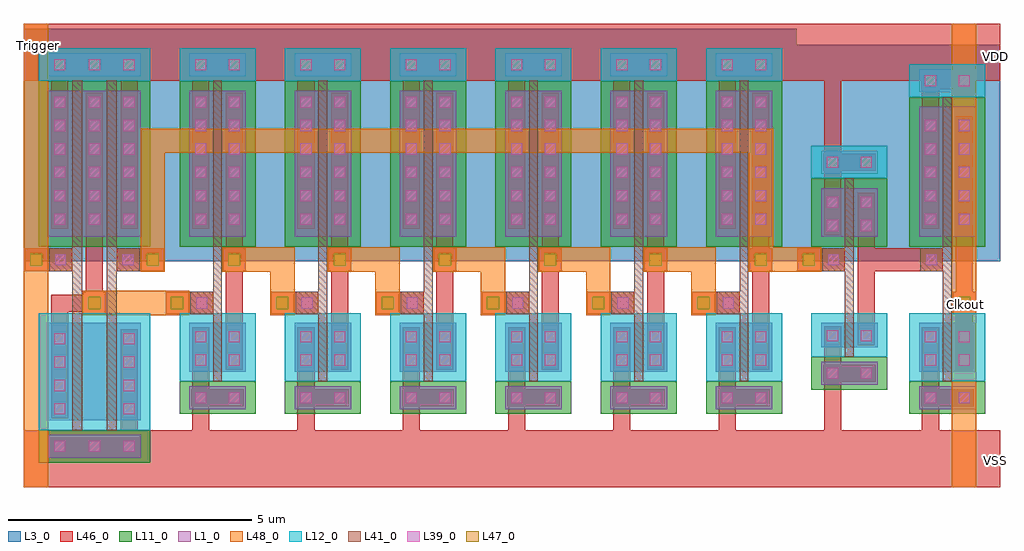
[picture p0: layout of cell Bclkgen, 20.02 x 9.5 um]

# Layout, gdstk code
import gdstk
lib = gdstk.Library(unit=1e-6, precision=1e-09)
def R(c, l, rs):  # rectangles x0, y0, x1, y1
    for r in rs: c.add(gdstk.rectangle(r[:2], r[2:], *l))
def A(c, l, x, y, w, h, nx, ny, dx, dy):  # array of equal rectangles
    R(c, l, [(x+i*dx, y+j*dy, x+i*dx+w, y+j*dy+h) for i in range(nx) for j in range(ny)])
L1_0 = (1, 0)
L3_0 = (3, 0)
L11_0 = (11, 0)
L12_0 = (12, 0)
L39_0 = (39, 0)
L41_0 = (41, 0)
L46_0 = (46, 0)
L47_0 = (47, 0)
L48_0 = (48, 0)

buf = lib.new_cell('buf')
R(buf, L1_0, [(-5.405,3.04,-4.245,3.51), (-7.415,3.54,-6.255,4.01), (-5.405,3.81,-4.245,4.81), (-7.415,4.31,-6.255,4.81), (-7.415,6.57,-6.255,7.57), (-5.405,6.57,-4.245,9.24), (-7.415,7.87,-6.255,8.34), (-5.405,9.54,-4.245,10.01)])
R(buf, L3_0, [(-7.915,6.07,-3.745,10.51)])
R(buf, L11_0, [(-5.605,2.94,-4.045,3.61), (-7.615,3.44,-6.055,4.11), (-7.615,6.37,-6.055,7.77), (-5.605,6.37,-4.045,9.44)])
R(buf, L12_0, [(-5.605,3.61,-4.045,5.01), (-7.615,4.11,-6.055,5.01), (-7.615,7.77,-6.055,8.44), (-5.605,9.44,-4.045,10.11)])
A(buf, L39_0, -5.285, 6.82, 0.23, 0.23, 1, 5, 0, 0.48)
A(buf, L39_0, -4.595, 6.82, 0.23, 0.23, 1, 5, 0, 0.48)
R(buf, L39_0, [(-5.285,3.16,-5.055,3.39), (-4.595,3.16,-4.365,3.39), (-7.295,3.66,-7.065,3.89), (-6.605,3.66,-6.375,3.89), (-5.285,3.93,-5.055,4.16), (-4.595,3.93,-4.365,4.16), (-5.285,4.41,-5.055,4.64), (-4.595,4.41,-4.365,4.64), (-7.295,4.43,-7.065,4.66), (-6.605,4.43,-6.375,4.66), (-7.275,5.99,-7.045,6.22), (-5.265,5.99,-5.035,6.22), (-7.295,6.69,-7.065,6.92), (-6.605,6.69,-6.375,6.92), (-7.295,7.17,-7.065,7.4), (-6.605,7.17,-6.375,7.4), (-7.295,7.99,-7.065,8.22), (-6.605,7.99,-6.375,8.22), (-5.285,9.66,-5.055,9.89), (-4.595,9.66,-4.365,9.89)])
R(buf, L41_0, [(-4.915,3.61,-4.735,9.44), (-6.925,4.11,-6.745,7.77), (-7.395,5.87,-6.745,6.34), (-5.385,5.87,-4.735,6.34)])
R(buf, L46_0, [(-7.915,1.44,-3.745,2.61), (-7.355,2.39,-7.005,4.74), (-5.345,2.39,-4.995,4.72), (-5.365,3.1,-4.285,3.45), (-7.375,3.6,-6.295,3.95), (-4.655,3.85,-4.305,9.05), (-6.665,4.35,-6.315,7.48), (-4.715,4.98,-4.245,5.45), (-7.9,5.87,-6.925,6.34), (-6.465,5.87,-4.915,6.34), (-7.355,6.61,-7.005,9.99), (-5.345,6.74,-4.995,9.99), (-7.375,7.93,-6.295,8.28), (-5.365,9.6,-4.285,9.95), (-7.915,9.77,-3.745,10.94)])
R(buf, L47_0, [(-4.605,5.09,-4.355,5.34), (-7.79,5.98,-7.54,6.23)])
R(buf, L48_0, [(-4.73,4.965,-4.23,5.465), (-7.915,5.855,-7.415,6.355)])
buf.add(gdstk.Label('VSS', (-6.25,1.99), layer=101, texttype=0))
buf.add(gdstk.Label('VDD', (-6.23,10.58), layer=101, texttype=0))
buf.add(gdstk.Label('A', (-7.615,6.13), layer=102, texttype=0))
buf.add(gdstk.Label('Out', (-4.535,5.22), layer=102, texttype=0))

inv = lib.new_cell('inv')
R(inv, L1_0, [(-2.87,4.425,-1.71,4.895), (-2.87,5.195,-1.71,6.195), (-2.87,7.955,-1.71,10.955), (-2.87,11.255,-1.71,11.725)])
R(inv, L3_0, [(-3.37,7.455,-1.21,12.225)])
R(inv, L11_0, [(-3.07,4.325,-1.51,4.995), (-3.07,7.755,-1.51,11.155)])
R(inv, L12_0, [(-3.07,4.995,-1.51,6.395), (-3.07,11.155,-1.51,11.825)])
A(inv, L39_0, -2.75, 8.205, 0.23, 0.23, 1, 6, 0, 0.48)
A(inv, L39_0, -2.06, 8.205, 0.23, 0.23, 1, 6, 0, 0.48)
R(inv, L39_0, [(-2.75,4.545,-2.52,4.775), (-2.06,4.545,-1.83,4.775), (-2.75,5.315,-2.52,5.545), (-2.06,5.315,-1.83,5.545), (-2.75,5.795,-2.52,6.025), (-2.06,5.795,-1.83,6.025), (-2.73,6.485,-2.5,6.715), (-2.75,11.375,-2.52,11.605), (-2.06,11.375,-1.83,11.605)])
R(inv, L41_0, [(-2.38,4.995,-2.2,11.155), (-2.85,6.365,-2.2,6.835)])
R(inv, L46_0, [(-3.37,2.825,-1.21,3.995), (-2.81,3.795,-2.46,6.105), (-2.83,4.485,-1.75,4.835), (-2.12,5.235,-1.77,10.915), (-3.355,6.365,-2.38,6.835), (-2.18,7.255,-1.71,7.725), (-2.81,8.125,-2.46,11.375), (-3.37,11.155,-1.21,12.325)])
R(inv, L47_0, [(-3.245,6.475,-2.995,6.725), (-2.07,7.365,-1.82,7.615)])
R(inv, L48_0, [(-3.37,6.35,-2.87,6.85), (-2.195,7.24,-1.695,7.74)])
inv.add(gdstk.Label('VSS', (-2.845,3.375), layer=101, texttype=0))
inv.add(gdstk.Label('VDD', (-2.85,11.875), layer=101, texttype=0))
inv.add(gdstk.Label('A', (-3.02,6.655), layer=102, texttype=0))
inv.add(gdstk.Label('Out', (-1.915,7.5), layer=102, texttype=0))

nand2 = lib.new_cell('nand2')
R(nand2, L1_0, [(-2.92,0.945,-1.03,1.415), (-2.92,1.715,-1.03,3.715), (-2.92,5.475,-1.03,8.475), (-2.92,8.775,-1.03,9.245)])
R(nand2, L3_0, [(-3.42,4.975,-0.53,9.745)])
R(nand2, L11_0, [(-3.12,0.845,-0.83,1.515), (-3.12,5.275,-0.83,8.675)])
R(nand2, L12_0, [(-3.12,1.515,-0.83,3.915), (-3.12,8.675,-0.83,9.345)])
A(nand2, L39_0, -2.8, 1.065, 0.23, 0.23, 3, 2, 0.71, 4.66)
A(nand2, L39_0, -2.8, 1.835, 0.23, 0.23, 1, 4, 0, 0.48)
A(nand2, L39_0, -1.38, 1.835, 0.23, 0.23, 1, 4, 0, 0.48)
A(nand2, L39_0, -2.8, 6.205, 0.23, 0.23, 3, 5, 0.71, 0.48)
A(nand2, L39_0, -2.8, 8.895, 0.23, 0.23, 3, 1, 0.71, 0)
R(nand2, L39_0, [(-2.78,4.895,-2.55,5.125), (-1.4,4.895,-1.17,5.125)])
R(nand2, L41_0, [(-2.43,1.515,-2.23,8.675), (-1.72,1.515,-1.52,8.675), (-2.9,4.775,-2.23,5.245), (-1.72,4.775,-1.05,5.245)])
R(nand2, L46_0, [(-3.42,0.345,-0.53,1.515), (-1.44,1.295,-1.09,3.585), (-2.86,1.755,-2.51,4.295), (-2.21,3.885,-1.74,4.355), (-2.86,3.945,-1.8,4.295), (-2.15,3.945,-1.8,8.435), (-3.405,4.775,-2.43,5.245), (-1.52,4.775,-0.545,5.245), (-2.86,5.645,-2.51,8.895), (-1.44,5.645,-1.09,8.895), (-3.42,8.675,-0.53,9.845)])
R(nand2, L47_0, [(-2.1,3.995,-1.85,4.245), (-3.295,4.885,-3.045,5.135), (-0.905,4.885,-0.655,5.135)])
R(nand2, L48_0, [(-2.225,3.87,-1.725,4.37), (-3.42,4.76,-2.92,5.26), (-1.03,4.76,-0.53,5.26)])
nand2.add(gdstk.Label('VSS', (-2.59,0.815), layer=101, texttype=0))
nand2.add(gdstk.Label('VDD', (-2.685,9.365), layer=101, texttype=0))
nand2.add(gdstk.Label('B', (-0.85,4.975), layer=102, texttype=0))
nand2.add(gdstk.Label('A', (-3.135,4.96), layer=102, texttype=0))
nand2.add(gdstk.Label('Out', (-1.925,4.13), layer=102, texttype=0))

bclkgen = lib.new_cell('Bclkgen')
A(bclkgen, L48_0, -16.625, 4.18, 0.5, 1.39, 5, 1, 2.16, 0)
A(bclkgen, L48_0, -17.61, 5.07, 1.485, 0.5, 6, 1, 2.16, 0)
R(bclkgen, L48_0, [(-21.675,0.655,-21.175,10.155), (-2.64,0.655,-2.14,10.155), (-20.48,4.18,-18.285,4.68), (-19.285,5.07,-18.785,8.01), (-6.81,5.07,-6.31,8.01), (-19.285,7.51,-6.31,8.01)])
bclkgen.add(gdstk.Reference(buf, (2.09,-0.785)))
bclkgen.add(gdstk.Reference(inv, (-15.415,-2.17)))
bclkgen.add(gdstk.Reference(inv, (-13.255,-2.17)))
bclkgen.add(gdstk.Reference(inv, (-11.095,-2.17)))
bclkgen.add(gdstk.Reference(inv, (-8.935,-2.17)))
bclkgen.add(gdstk.Reference(inv, (-6.775,-2.17)))
bclkgen.add(gdstk.Reference(inv, (-4.615,-2.17)))
bclkgen.add(gdstk.Reference(nand2, (-18.255,0.31)))
bclkgen.add(gdstk.Label('VDD', (-1.746,9.49), layer=101, texttype=0))
bclkgen.add(gdstk.Label('VSS', (-1.738,1.195), layer=101, texttype=0))
bclkgen.add(gdstk.Label('Trigger', (-21.408,9.705), layer=102, texttype=0))
bclkgen.add(gdstk.Label('Clkout', (-2.371,4.41), layer=102, texttype=0))

lib.write_gds('Bclkgen.gds')
